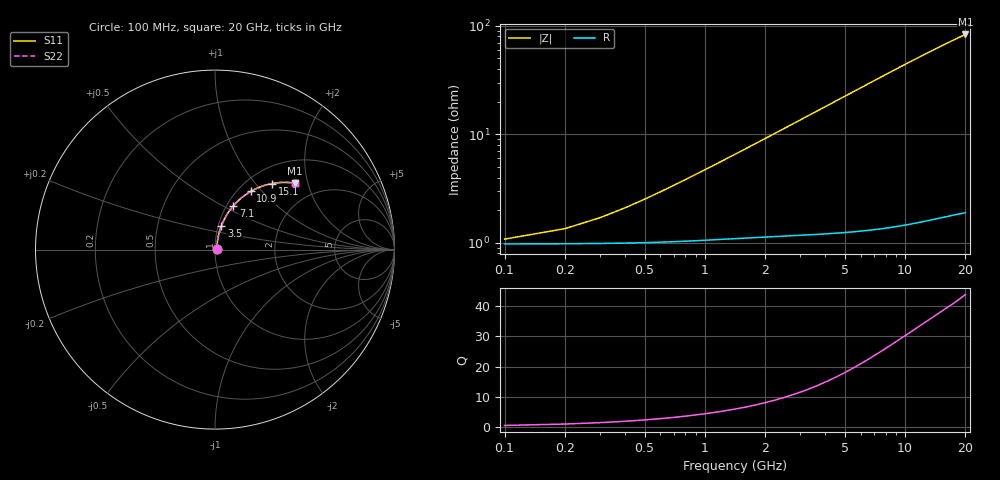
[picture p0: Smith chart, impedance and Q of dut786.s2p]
! Touchstone file exported from HFSS 2026.1.0
!  File:  C:/ffzhzh/LocalFiles/Ansys_Project_Files/temp_train_TMRDL_786_1783155855_18472.aedt
!  Generated:  05:05:29 PM Jul  4, 2026
!  Design:  TMRDL
!  Project:  temp_train_TMRDL_786_1783155855_18472
! Variables:
!  h_bsmrdl = 2um
!  h_ox = 20um
!  h_rdl = 5um
!  h_sub = 80um
!  h_tmrdl = 2.2um
!  h_tsv = 80um
!  h_via = 3um
!  l_bsmrdl = 300um
!  l_sub = 1006.64um
!  l_tmrdl = 606.64um
!  m_sub = 200um
!  pitch = 51.15um
!  r_tsv = 6um
!  s_tmrdl = 10um
!  w_bsmrdl = 18um
!  w_sub = 500um
!  w_tmrdl = 10.02um
!  x_tsv_center1 = 611.65um
!  x_tsv_center2 = 929.65um
!  x_tsv_center3 = 1546.31um
!  x_tsv_center4 = 1864.31um
!  x_tsv_center5 = 2480.97um
!  x_tsv_center6 = 2798.97um
# GHz S MA R 50.000000
! Terminal data exported
! Port[1] = TM_RDL1_1_T1
! Port[2] = TM_RDL1_1_T2
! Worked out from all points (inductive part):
!   200 points, 100 MHz to 20 GHz, reference 50 ohm
!   read as one part in series: L = 731 pH near 700 MHz
!   highest Q = 43.9 at 20 GHz (marker M1), where L = 662 pH
!   S11 on the Smith chart (normalised r, x): 100 MHz: 1.02, +0.01; 3.5 GHz: 1.04, +0.28; 7.1 GHz: 1.07, +0.56; 10.9 GHz: 1.15, +0.87; 15.1 GHz: 1.27, +1.23; 20 GHz: 1.50, +1.67
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0.1  0.0105 22.4  0.9903 -0.3  0.9903 -0.3  0.0105 22.4
! Gamma 0 0 0 0
! Port Impedance 50 0 50 0
0.4  0.01891 57.4  0.99 -1.2  0.99 -1.2  0.01891 57.4
0.6  0.02612 65.6  0.9897 -1.8  0.9897 -1.8  0.02612 65.6
0.7  0.02984 68.1  0.9895 -2.1  0.9895 -2.1  0.02984 68.1
0.9  0.03738 71.3  0.989 -2.6  0.989 -2.6  0.03738 71.3
1.2  0.04877 73.9  0.9882 -3.5  0.9882 -3.5  0.04877 73.9
1.4  0.05637 74.9  0.9877 -4.1  0.9877 -4.1  0.05637 74.9
1.7  0.06776 75.7  0.9868 -4.9  0.9868 -4.9  0.06776 75.7
2.2  0.0867 76.2  0.9851 -6.4  0.9851 -6.4  0.0867 76.2
2.8  0.1093 75.9  0.9826 -8.1  0.9826 -8.1  0.1093 75.9
3.5  0.1355 75.0  0.9792 -10.0  0.9792 -10.0  0.1355 75.0
4.2  0.1614 73.8  0.9751 -12.0  0.9751 -12.0  0.1614 73.8
5  0.1905 72.1  0.9697 -14.2  0.9697 -14.2  0.1905 72.1
6.8  0.2535 68.1  0.9548 -19.1  0.9548 -19.1  0.2535 68.1
7.1  0.2636 67.3  0.952 -19.9  0.952 -19.9  0.2636 67.3
8.5  0.3093 64.0  0.938 -23.6  0.938 -23.6  0.3093 64.0
10.1  0.3582 60.2  0.9202 -27.6  0.9202 -27.6  0.3582 60.2
10.9  0.3812 58.4  0.9108 -29.5  0.9108 -29.5  0.3812 58.4
13.4  0.4472 52.8  0.8801 -35.4  0.8801 -35.4  0.4472 52.8
15.1  0.4869 49.1  0.8588 -39.1  0.8588 -39.1  0.4869 49.1
16.7  0.5206 45.9  0.8388 -42.5  0.8388 -42.5  0.5206 45.9
20  0.58 39.6  0.7992 -48.9  0.7992 -48.9  0.58 39.6
